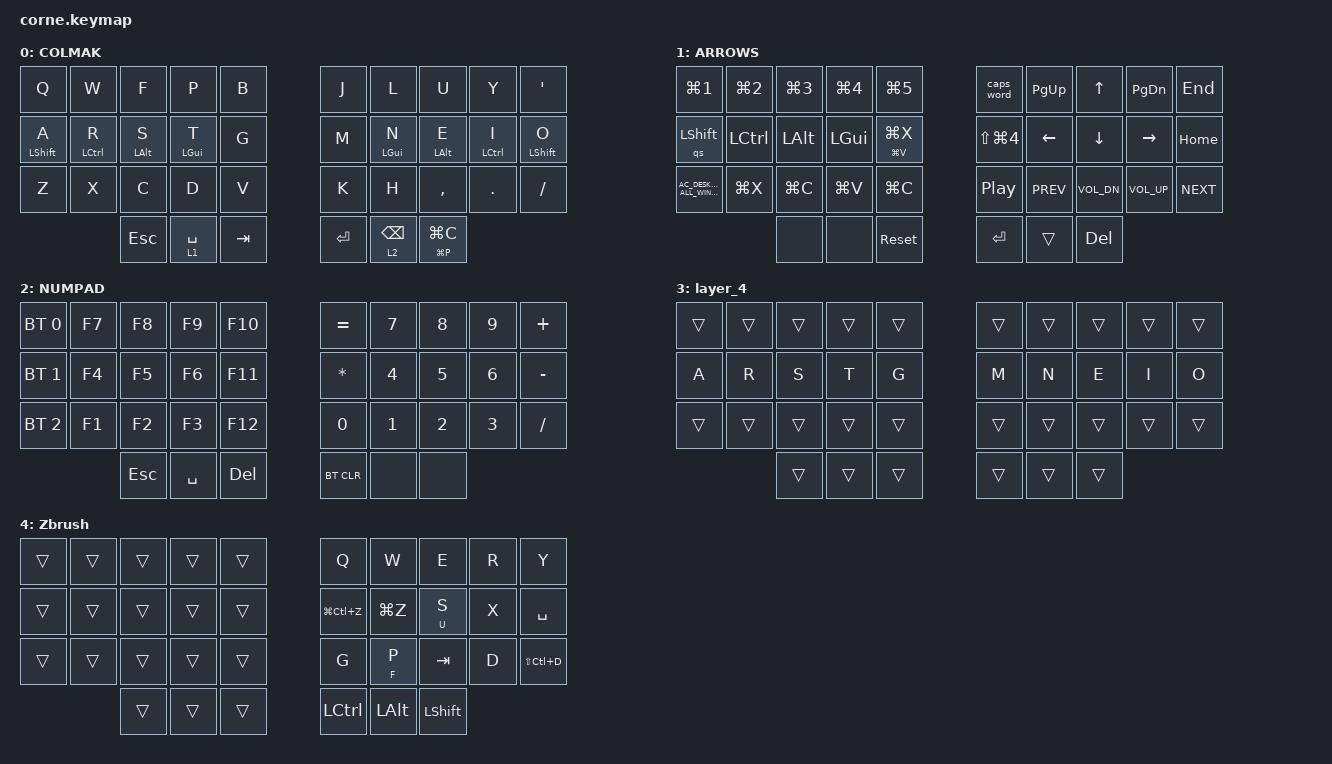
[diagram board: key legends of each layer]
#include <behaviors.dtsi>
#include <dt-bindings/zmk/bt.h>
#include <dt-bindings/zmk/keys.h>

// LAYERS

#define COL 0
#define NAV 1
#define NUM 2

// MACROS

#define U_UNDO  LG(Z)
#define U_CUT   LG(X)
#define U_COPY  LG(C)
#define U_PSTE  LG(V)
#define U_REDO  LS(LG(Z))
#define U_CLIP  LC(LG(C))
#define U_SHOT  LS(LG(N4))

// CONFIGURATION

&lt {
    flavor = "tap-preferred";
    tapping-term-ms = <200>;
    quick-tap-ms = <0>;
};

&caps_word { continue-list = <UNDERSCORE MINUS>; };

/ {
    chosen { zmk,matrix_transform = &five_column_transform; };
};

// KEYMAP

/ {
    behaviors {
        hm: homerow_mods {
            compatible = "zmk,behavior-hold-tap";
            label = "HOMEROW_MODS";
            #binding-cells = <2>;
            tapping-term-ms = <200>;
            quick_tap_ms = <0>;
            flavor = "tap-preferred";
            bindings = <&kp>, <&kp>;
        };

        qs: qs {
            compatible = "zmk,behavior-sticky-key";
            label = "QS";
            bindings = <&kp>;
            #binding-cells = <1>;
            release-after-ms = <500>;
        };
    };

    combos {
        compatible = "zmk,combos";

        // Left-hand combos

        combo_AT_SIGN {
            timeout-ms = <40>;
            key-positions = <1 2>;
            bindings = <&kp AT_SIGN>;
        };

        combo_LEFT_BRACE {
            timeout-ms = <40>;
            key-positions = <2 3>;
            bindings = <&kp LEFT_BRACE>;
        };

        combo_EXCLAMATION {
            timeout-ms = <40>;
            key-positions = <1 11>;
            bindings = <&kp EXCLAMATION>;
        };

        combo_HASH {
            timeout-ms = <40>;
            key-positions = <2 12>;
            bindings = <&kp HASH>;
        };

        combo_DOLLAR {
            timeout-ms = <40>;
            key-positions = <3 13>;
            bindings = <&kp DOLLAR>;
        };

        combo_GRAVE {
            timeout-ms = <40>;
            key-positions = <10 11>;
            bindings = <&kp GRAVE>;
        };

        combo_COLON {
            timeout-ms = <40>;
            key-positions = <11 12>;
            bindings = <&kp COLON>;
        };

        combo_LEFT_PARENTHESIS {
            timeout-ms = <40>;
            key-positions = <12 13>;
            bindings = <&kp LEFT_PARENTHESIS>;
        };

        combo_PERCENT {
            timeout-ms = <40>;
            key-positions = <11 21>;
            bindings = <&kp PERCENT>;
        };

        combo_CARET {
            timeout-ms = <40>;
            key-positions = <12 22>;
            bindings = <&kp CARET>;
        };

        combo_AMPERSAND {
            timeout-ms = <40>;
            key-positions = <13 23>;
            bindings = <&kp AMPERSAND>;
        };

        combo_TILDE {
            timeout-ms = <40>;
            key-positions = <20 21>;
            bindings = <&kp TILDE>;
        };

        combo_SEMICOLON {
            timeout-ms = <40>;
            key-positions = <21 22>;
            bindings = <&kp SEMICOLON>;
        };

        combo_LEFT_BRACKET {
            timeout-ms = <40>;
            key-positions = <22 23>;
            bindings = <&kp LEFT_BRACKET>;
        };

        // Right-hand combos

        combo_RIGHT_BRACE {
            timeout-ms = <40>;
            key-positions = <6 7>;
            bindings = <&kp RIGHT_BRACE>;
        };

        combo_DOUBLE_QUOTES {
            timeout-ms = <40>;
            key-positions = <7 8>;
            bindings = <&kp DOUBLE_QUOTES>;
        };

        combo_EQUAL {
            timeout-ms = <40>;
            key-positions = <6 16>;
            bindings = <&kp EQUAL>;
        };

        combo_PIPE {
            timeout-ms = <40>;
            key-positions = <7 17>;
            bindings = <&kp PIPE>;
        };

        combo_BACKSLASH {
            timeout-ms = <40>;
            key-positions = <8 18>;
            bindings = <&kp BACKSLASH>;
        };

        combo_RIGHT_PARENTHESIS {
            timeout-ms = <40>;
            key-positions = <16 17>;
            bindings = <&kp RIGHT_PARENTHESIS>;
        };

        combo_MINUS {
            timeout-ms = <40>;
            key-positions = <17 18>;
            bindings = <&kp MINUS>;
        };

        combo_KP_PLUS {
            timeout-ms = <40>;
            key-positions = <18 19>;
            bindings = <&kp KP_PLUS>;
        };

        combo_ASTERISK {
            timeout-ms = <40>;
            key-positions = <16 26>;
            bindings = <&kp ASTERISK>;
        };

        combo_LESS_THAN {
            timeout-ms = <40>;
            key-positions = <17 27>;
            bindings = <&kp LESS_THAN>;
        };

        combo_GREATER_THAN {
            timeout-ms = <40>;
            key-positions = <18 28>;
            bindings = <&kp GREATER_THAN>;
        };

        combo_RIGHT_BRACKET {
            timeout-ms = <40>;
            key-positions = <26 27>;
            bindings = <&kp RIGHT_BRACKET>;
        };

        combo_UNDERSCORE {
            timeout-ms = <40>;
            key-positions = <27 28>;
            bindings = <&kp UNDERSCORE>;
        };

        combo_QUESTION {
            timeout-ms = <40>;
            key-positions = <28 29>;
            bindings = <&kp QUESTION>;
        };

        layer4 {
            bindings = <&tog 3>;
            key-positions = <32 33>;
            layers = <0 3>;
        };

        zbrush {
            bindings = <&tog 4>;
            key-positions = <30 35>;
        };
    };

    macros {
        r_arrow: k {
            compatible = "zmk,behavior-macro";
            #binding-cells = <0>;
            bindings = <&kp EQUAL &kp GT &kp SPACE>;
            label = "R_ARROW";
        };
    };

    keymap {
        compatible = "zmk,keymap";

        col_layer {
            label = "COLMAK";
            bindings = <
  &kp Q        &kp W        &kp F       &kp P        &kp B      &kp J       &kp L            &kp U            &kp Y        &kp SQT
  &hm LSHFT A  &hm LCTRL R  &hm LALT S  &hm LGUI T   &kp G      &kp M       &hm LGUI N       &hm LALT E       &hm LCTRL I  &hm LSHFT O
  &kp Z        &kp X        &kp C       &kp D        &kp V      &kp K       &kp H            &kp COMMA        &kp DOT      &kp FSLH
                            &kp ESC     &lt 1 SPACE  &kp TAB    &kp RETURN  &lt 2 BACKSPACE  &hm LG(P) LG(C)
            >;
        };

        nav_layer {
            label = "ARROWS";
            bindings = <
  &kp LG(N1)                         &kp LG(N2)  &kp LG(N3)  &kp LG(N4)  &kp LG(N5)         &caps_word  &kp PG_UP   &kp UP_ARROW  &kp PG_DN     &kp END
  &qs LEFT_SHIFT                     &kp LCTRL   &kp LALT    &kp LGUI    &hm LG(V) LG(X)    &kp U_SHOT  &kp LEFT    &kp DOWN      &kp RIGHT     &kp HOME
  &kp C_AC_DESKTOP_SHOW_ALL_WINDOWS  &kp U_CUT   &kp U_COPY  &kp U_PSTE  &kp LG(C)          &kp C_PP    &kp C_PREV  &kp C_VOL_DN  &kp C_VOL_UP  &kp C_NEXT
                                                 &none       &none       &sys_reset         &kp RET     &trans      &kp DEL
            >;
        };

        num_layer {
            label = "NUMPAD";
            bindings = <
  &bt BT_SEL 0  &kp F7  &kp F8   &kp F9     &kp F10       &kp EQUAL   &kp N7  &kp N8  &kp N9  &kp PLUS
  &bt BT_SEL 1  &kp F4  &kp F5   &kp F6     &kp F11       &kp ASTRK   &kp N4  &kp N5  &kp N6  &kp MINUS
  &bt BT_SEL 2  &kp F1  &kp F2   &kp F3     &kp F12       &kp N0      &kp N1  &kp N2  &kp N3  &kp FSLH
                        &kp ESC  &kp SPACE  &kp DELETE    &bt BT_CLR  &none   &none
            >;
        };

        layer_4 {
            bindings = <
  &trans  &trans  &trans  &trans  &trans    &trans  &trans  &trans  &trans  &trans
  &kp A   &kp R   &kp S   &kp T   &kp G     &kp M   &kp N   &kp E   &kp I   &kp O
  &trans  &trans  &trans  &trans  &trans    &trans  &trans  &trans  &trans  &trans
                  &trans  &trans  &trans    &trans  &trans  &trans
            >;
        };

        Zbrush {
            bindings = <
  &trans  &trans  &trans  &trans  &trans    &kp Q          &kp W      &kp E      &kp R  &kp Y
  &trans  &trans  &trans  &trans  &trans    &kp LG(LC(Z))  &kp LG(Z)  &hm U S    &kp X  &kp SPACE
  &trans  &trans  &trans  &trans  &trans    &kp G          &hm F P    &kp TAB    &kp D  &kp LS(LC(D))
                  &trans  &trans  &trans    &kp LCTRL      &kp LALT   &kp LSHFT
            >;
        };
    };
};
